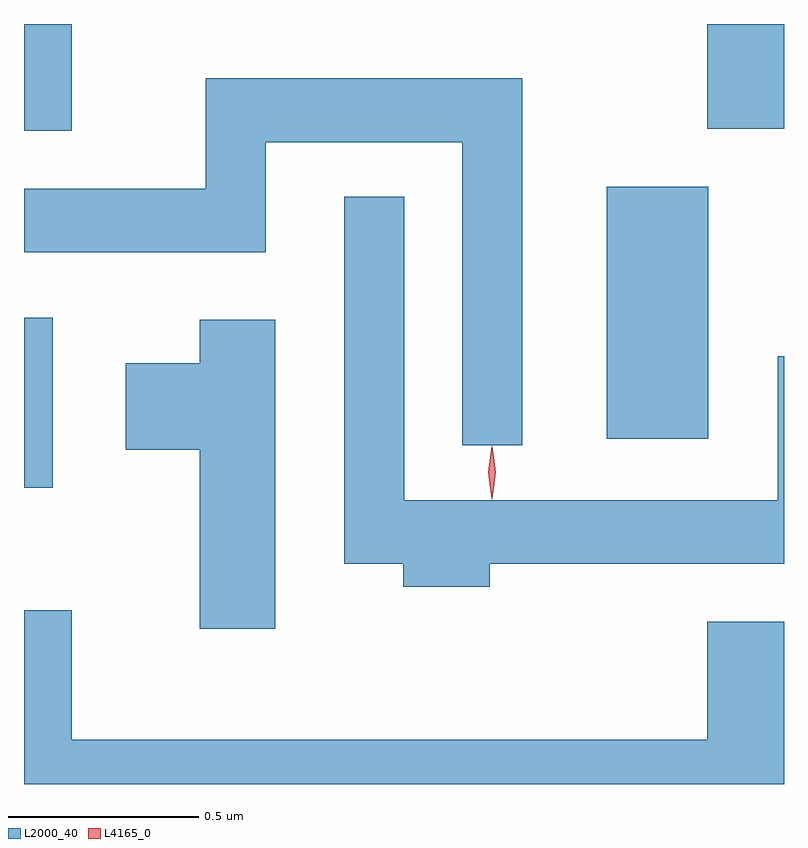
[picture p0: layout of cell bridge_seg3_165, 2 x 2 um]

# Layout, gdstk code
import gdstk
lib = gdstk.Library(unit=1e-6, precision=1e-09)
def R(c, l, rs):  # rectangles x0, y0, x1, y1
    for r in rs: c.add(gdstk.rectangle(r[:2], r[2:], *l))
def P(c, l, *ps):  # polygons
    for p in ps: c.add(gdstk.Polygon(p, *l))
L2000_40 = (2000, 40)
L4165_0 = (4165, 0)

bridge_seg3_165 = lib.new_cell('bridge_seg3_165')
R(bridge_seg3_165, L2000_40, [(907.843,1224.626,907.919,1225.074), (909.376,1224.756,909.644,1225.419), (907.843,1225.566,907.969,1225.847), (909.641,1225.571,909.843,1225.847)])
P(bridge_seg3_165, L2000_40, [(909.154,1225.704),(908.321,1225.704),(908.321,1225.414),(907.843,1225.414),(907.843,1225.246),(908.479,1225.246),(908.479,1225.536),(908.996,1225.536),(908.996,1224.738),(909.154,1224.738)],
  [(909.069,1224.426),(909.843,1224.426),(909.843,1224.973),(909.826,1224.973),(909.826,1224.594),(908.844,1224.594),(908.844,1225.393),(908.686,1225.393),(908.686,1224.426),(908.841,1224.426),(908.841,1224.366),(909.069,1224.366)],
  [(908.504,1225.069),(908.306,1225.069),(908.306,1224.954),(908.111,1224.954),(908.111,1224.726),(908.306,1224.726),(908.306,1224.256),(908.504,1224.256)],
  [(909.843,1224.274),(909.641,1224.274),(909.641,1223.964),(907.969,1223.964),(907.969,1224.304),(907.843,1224.304),(907.843,1223.847),(909.843,1223.847)])
P(bridge_seg3_165, L4165_0, [(909.075,1224.597),(909.074,1224.598),(909.065,1224.667),(909.074,1224.736),(909.075,1224.736),(909.075,1224.736),(909.085,1224.667),(909.075,1224.598)])

lib.write_gds('bridge_seg3_165.gds')
